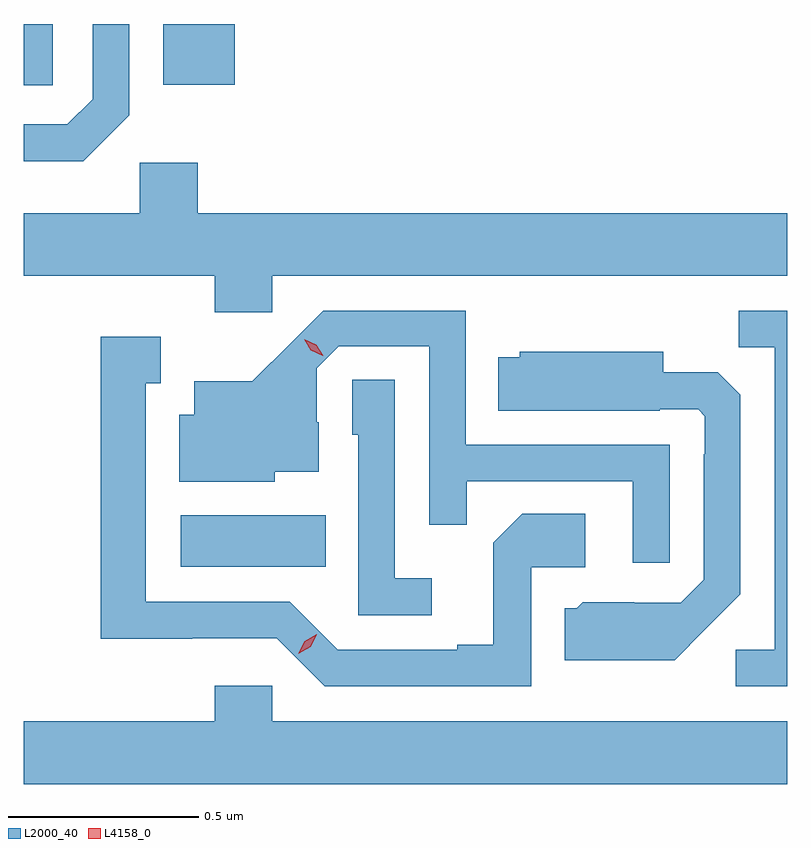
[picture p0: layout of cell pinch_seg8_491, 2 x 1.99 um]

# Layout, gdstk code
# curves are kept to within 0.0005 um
import gdstk
lib = gdstk.Library(unit=1e-6, precision=1e-09)
def R(c, l, rs):  # rectangles x0, y0, x1, y1
    for r in rs: c.add(gdstk.rectangle(r[:2], r[2:], *l))
def P(c, l, *ps):  # polygons
    for p in ps: c.add(gdstk.Polygon(p, *l))
L2000_40 = (2000, 40)
L4158_0 = (4158, 0)

pinch_seg8_491 = lib.new_cell('pinch_seg8_491')
R(pinch_seg8_491, L2000_40, [(181.554,1134.386,181.934,1134.52), (181.143,1135.647,181.218,1135.808), (181.508,1135.649,181.696,1135.808)])
P(pinch_seg8_491, L2000_40, [(181.419,1135.569),(181.419,1135.808),(181.323,1135.808),(181.323,1135.611),(181.257,1135.545),(181.143,1135.545),(181.143,1135.448),(181.298,1135.448)],
  [(181.794,1135.148),(183.143,1135.148),(183.143,1135.312),(181.598,1135.312),(181.598,1135.444),(181.446,1135.444),(181.446,1135.312),(181.143,1135.312),(181.143,1135.148),(181.643,1135.148),(181.643,1135.053),(181.794,1135.053)],
  [(182.835,1134.705),(182.301,1134.705),(182.301,1135.056),(181.928,1135.056),(181.741,1134.871),(181.589,1134.871),(181.589,1134.784),(181.55,1134.784),(181.55,1134.608),(181.8,1134.608),(181.8,1134.635),(181.915,1134.635),(181.915,1134.764),(181.911,1134.764),(181.911,1134.906),(181.968,1134.963),(182.205,1134.963),(182.205,1134.496),(182.303,1134.496),(182.303,1134.609),(182.739,1134.609),(182.739,1134.396),(182.835,1134.396)],
  [(183.143,1135.056),(183.016,1135.056),(183.016,1134.961),(183.111,1134.961),(183.111,1134.168),(183.009,1134.168),(183.009,1134.072),(183.143,1134.072)],
  [(182.472,1134.384),(182.614,1134.384),(182.614,1134.524),(182.449,1134.524),(182.373,1134.448),(182.373,1134.181),(182.279,1134.181),(182.279,1134.168),(181.965,1134.168),(181.839,1134.294),(181.462,1134.294),(181.462,1134.867),(181.501,1134.867),(181.501,1134.988),(181.344,1134.988),(181.344,1134.197),(181.584,1134.197),(181.584,1134.198),(181.806,1134.198),(181.932,1134.072),(182.472,1134.072)],
  [(182.929,1134.221),(183.021,1134.314),(183.021,1134.836),(182.962,1134.895),(182.818,1134.895),(182.818,1134.949),(182.442,1134.949),(182.442,1134.934),(182.386,1134.934),(182.386,1134.794),(182.81,1134.794),(182.81,1134.798),(182.91,1134.798),(182.928,1134.78),(182.928,1134.68),(182.925,1134.68),(182.925,1134.351),(182.865,1134.291),(182.742,1134.291),(182.742,1134.292),(182.608,1134.292),(182.592,1134.276),(182.561,1134.276),(182.561,1134.14),(182.849,1134.14)],
  [(182.212,1134.355),(182.115,1134.355),(182.115,1134.875),(182.004,1134.875),(182.004,1134.732),(182.019,1134.732),(182.019,1134.258),(182.212,1134.258)],
  [(183.143,1133.98),(181.794,1133.98),(181.794,1134.073),(181.643,1134.073),(181.643,1133.98),(181.143,1133.98),(181.143,1133.816),(183.143,1133.816)])
P(pinch_seg8_491, L4158_0, [(181.926,1134.938),(181.895,1134.953),(181.878,1134.982),(181.878,1134.982),(181.878,1134.982),(181.909,1134.967),(181.927,1134.938),(181.927,1134.938)],
  [(181.862,1134.157),(181.862,1134.157),(181.879,1134.19),(181.911,1134.209),(181.911,1134.209),(181.911,1134.208),(181.894,1134.176),(181.862,1134.157)])

lib.write_gds('pinch_seg8_491.gds')
